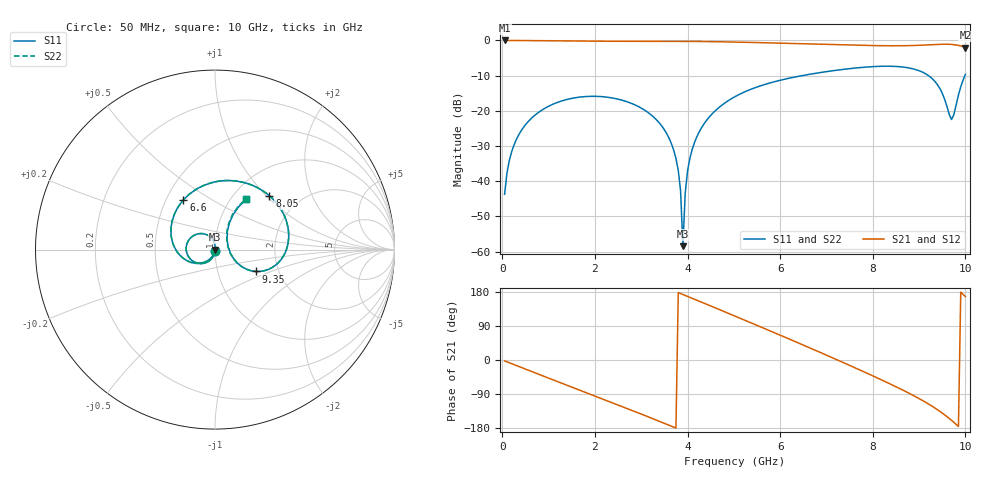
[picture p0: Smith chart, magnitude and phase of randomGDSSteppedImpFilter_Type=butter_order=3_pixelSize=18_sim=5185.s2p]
! freq	dB(S11)	phase(S11)	dB(S12)	phase(S12)
!  dB(S21)	phase(S21)	dB(S22)	phase(S22)
!S-par simulation data
#  GHz  S  DB  R 50
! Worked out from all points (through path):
!   200 points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, 50 MHz to 10 GHz, reference 50 ohm
!   highest |S21| = 0.00 dB at 50 MHz (marker M1); lowest = -2.0 dB at 10 GHz (marker M2)
!   group delay of S21, straight-line fit = 145 ps
!   lowest |S11| = -58.5 dB at 3.9 GHz (marker M3), VSWR 1.00, Z = 50.1 - j0.0861 ohm
!   |S11| at or under -10 dB: start of sweep to 6.473 GHz; 9.203 GHz to 9.989 GHz (785.2 MHz wide, 8.18 % of centre)
!   |S22| runs from -57.0 to -7.3 dB; largest |S21 - S12| = 0
!   S11 on the Smith chart (normalised r, x): 50 MHz: 1.00, -0.01; 6.6 GHz: 0.61, +0.38; 8.05 GHz: 1.42, +1.04; 9.35 GHz: 1.52, -0.40; 10 GHz: 1.17, +0.74
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0.05  -43.72 -91.9  -0.00 -2.4  -0.00 -2.4  -43.72 -91.9
0.2  -31.72 -99.6  -0.01 -9.6  -0.01 -9.6  -31.72 -99.6
0.5  -23.97 -114.1  -0.03 -24.0  -0.03 -24.0  -23.97 -114.1
1.75  -15.99 -174.1  -0.21 -83.1  -0.21 -83.1  -15.99 -174.2
2.55  -16.85 147.7  -0.23 -120.9  -0.23 -120.9  -16.85 147.7
3.4  -23.59 106.6  -0.22 -162.2  -0.22 -162.2  -23.59 106.3
3.8  -36.95 86.5  -0.24 177.9  -0.24 177.9  -36.94 84.6
3.85  -42.75 83.5  -0.24 175.4  -0.24 175.4  -42.72 79.5
3.9  -58.46 -46.1  -0.25 172.9  -0.25 172.9  -57.03 -21.7
3.95  -43.39 -99.3  -0.25 170.4  -0.25 170.4  -43.35 -94.6
4  -37.16 -102.5  -0.26 167.9  -0.26 167.9  -37.15 -100.2
4.15  -29.01 -110.4  -0.28 160.4  -0.28 160.4  -29.01 -109.4
5.05  -15.79 -156.4  -0.46 114.6  -0.46 114.6  -15.79 -156.1
5.8  -12.00 164.7  -0.70 75.9  -0.70 75.9  -12.00 165.0
6.6  -9.70 122.6  -0.97 34.1  -0.97 34.1  -9.70 122.9
6.7  -9.47 117.3  -1.01 28.8  -1.01 28.8  -9.47 117.6
7.35  -8.24 82.5  -1.24 -6.0  -1.24 -6.0  -8.24 82.8
8.05  -7.41 44.6  -1.46 -44.6  -1.46 -44.6  -7.41 44.9
8.35  -7.32 28.1  -1.51 -61.7  -1.51 -61.7  -7.32 28.3
9.35  -11.78 -28.2  -1.16 -127.3  -1.16 -127.3  -11.79 -28.3
9.7  -22.46 11.7  -1.13 -159.1  -1.13 -159.1  -22.70 11.8
10  -9.63 58.0  -2.03 167.4  -2.03 167.4  -9.65 58.7
